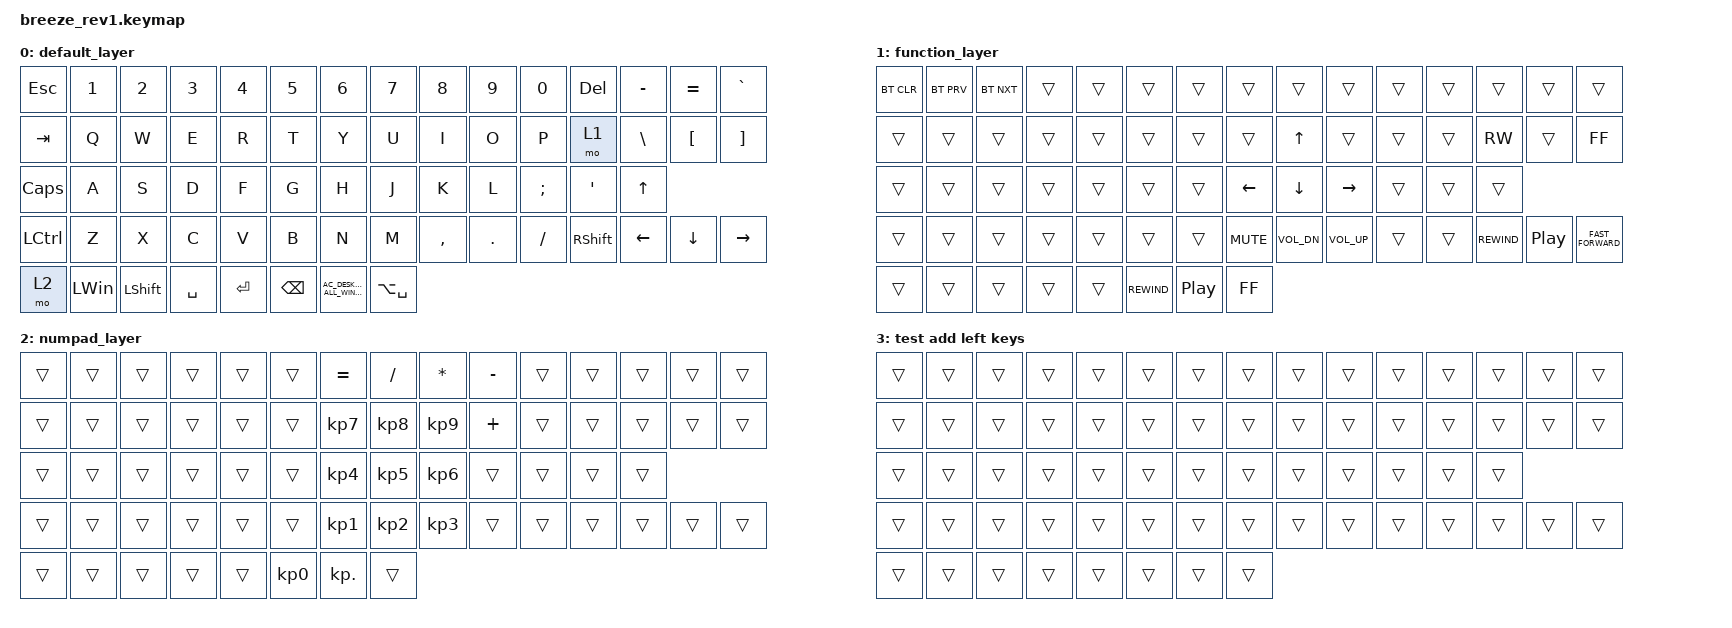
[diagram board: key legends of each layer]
/*
 * Copyright (c) 2022 The ZMK Contributors
 *
 * SPDX-License-Identifier: MIT
 */

#include <behaviors.dtsi>
#include <dt-bindings/zmk/bt.h>
#include <dt-bindings/zmk/keys.h>

/ {
    keymap {
        compatible = "zmk,keymap";

        default_layer {
            // Ref: https://zmkfirmware.dev/docs/codes/
            // ---  MAIN  -----------------------------------------------------------------------------------------------------------------------
            // |    ESC    |     1     |     2     |     3      |      4      |      5     |                           |      6      |      7     |      8      |      9     |     0    |    BSPC    | |    -/_    |     =/+     |    GRAVE    |
            // |    TAB    |     Q     |     W     |     E      |      R      |      T     |                           |      Y      |      U     |      I      |      O     |     P    |    DEL     | |     \     |      [      |      ]      |
            // |   LCTRL   |     A     |     S     |     D      |      F      |      G     |                           |      H      |      J     |      K      |      L     |     ;    |     '      | |           |      UP     |             |
            // |   SHIFT   |     Z     |     X     |     C      |      V      |      B     |                           |      N      |      M     |      ,      |      .     |     /    |   RSHIFT   | |     L     |      DN     |      R      |
            //                                     |   NUMPAD   |     LALT    |    LCMD    |   SPACE    |  |   ENTER   |   FUNCTION  |  MACOS APP |  MACOS LANG |

            bindings = <
&kp ESC           &kp N1        &kp N2          &kp N3     &kp N4   &kp N5         &kp N6                             &kp N7         &kp N8     &kp N9   &kp N0    &kp DEL     &kp MINUS  &kp EQUAL  &kp GRAVE
&kp TAB           &kp Q         &kp W           &kp E      &kp R    &kp T          &kp Y                              &kp U          &kp I      &kp O    &kp P     &mo 1       &kp BSLH   &kp LBKT   &kp RBKT
&kp CAPS          &kp A         &kp S           &kp D      &kp F    &kp G          &kp H                              &kp J          &kp K      &kp L    &kp SEMI  &kp APOS    &kp UP
&kp LEFT_CONTROL  &kp Z         &kp X           &kp C      &kp V    &kp B          &kp N                              &kp M          &kp COMMA  &kp DOT  &kp FSLH  &kp RSHIFT  &kp LEFT   &kp DOWN   &kp RIGHT
&mo 2             &kp LEFT_WIN  &kp LEFT_SHIFT  &kp SPACE  &kp RET  &kp BACKSPACE  &kp C_AC_DESKTOP_SHOW_ALL_WINDOWS  &kp LA(SPACE)
            >;
        };

        function_layer {
            // ---  FUNCTION  -------------------------------------------------------------------------------------------------------------------
            // | BT Clear  |  BT Prev  |  BT Next  |            |             |            |                           |             |            |             |            |          |            | |           |             |             |
            // |           |           |           |            |             |            |                           |             |            |     UP      |            |          |            | |           |             |             |
            // |           |           |           |            |             |            |                           |             |    LEFT    |    DOWN     |   RIGHT    |          |            | |           |             |             |
            // |           |           |           |            |             |            |                           |             |    MUTE    |  VOL DOWN   |   VOL UP   |          |            | |           |             |             |
            //                                     |            |             |            |            |  |           |             |            |             |

            bindings = <
&bt BT_CLR  &bt BT_PRV  &bt BT_NXT  &trans  &trans  &trans        &trans            &trans      &trans        &trans        &trans  &trans  &trans        &trans            &trans
&trans      &trans      &trans      &trans  &trans  &trans        &trans            &trans      &kp UP        &trans        &trans  &trans  &kp C_RW      &trans            &kp C_FF
&trans      &trans      &trans      &trans  &trans  &trans        &trans            &kp LEFT    &kp DOWN      &kp RIGHT     &trans  &trans  &trans
&trans      &trans      &trans      &trans  &trans  &trans        &trans            &kp C_MUTE  &kp C_VOL_DN  &kp C_VOL_UP  &trans  &trans  &kp C_REWIND  &kp C_PLAY_PAUSE  &kp C_FAST_FORWARD
&trans      &trans      &trans      &trans  &trans  &kp C_REWIND  &kp C_PLAY_PAUSE  &kp C_FF
            >;
        };

        numpad_layer {
            // ---  NUMPAD  -------------------------------------------------------------------------------------------------------------------
            // |           |           |           |            |             |            |                           |       =       |      /       |      *       |      -     |          |            | |           |             |             |
            // |           |           |           |            |             |            |                           |       7       |      8       |      9       |      +     |          |            | |           |             |             |
            // |           |           |           |            |             |            |                           |       4       |      5       |      6       |            |          |            | |           |             |             |
            // |           |           |           |            |             |            |                           |       1       |      2       |      3       |            |          |            | |           |             |             |
            //                                     |            |             |            |            |  |           |       0       |      .       |              |

            bindings = <
&trans  &trans  &trans  &trans  &trans  &trans           &kp EQUAL        &kp SLASH        &kp STAR         &kp MINUS  &trans  &trans  &trans  &trans  &trans
&trans  &trans  &trans  &trans  &trans  &trans           &kp KP_NUMBER_7  &kp KP_NUMBER_8  &kp KP_NUMBER_9  &kp PLUS   &trans  &trans  &trans  &trans  &trans
&trans  &trans  &trans  &trans  &trans  &trans           &kp KP_NUMBER_4  &kp KP_NUMBER_5  &kp KP_NUMBER_6  &trans     &trans  &trans  &trans
&trans  &trans  &trans  &trans  &trans  &trans           &kp KP_NUMBER_1  &kp KP_NUMBER_2  &kp KP_NUMBER_3  &trans     &trans  &trans  &trans  &trans  &trans
&trans  &trans  &trans  &trans  &trans  &kp KP_NUMBER_0  &kp KP_DOT       &trans
            >;
        };

        test_LEFT_KEYS {
            bindings = <
&trans  &trans  &trans  &trans  &trans  &trans  &trans  &trans  &trans  &trans  &trans  &trans  &trans  &trans  &trans
&trans  &trans  &trans  &trans  &trans  &trans  &trans  &trans  &trans  &trans  &trans  &trans  &trans  &trans  &trans
&trans  &trans  &trans  &trans  &trans  &trans  &trans  &trans  &trans  &trans  &trans  &trans  &trans
&trans  &trans  &trans  &trans  &trans  &trans  &trans  &trans  &trans  &trans  &trans  &trans  &trans  &trans  &trans
&trans  &trans  &trans  &trans  &trans  &trans  &trans  &trans
            >;

            label = "test add left keys";
        };
    };
};
